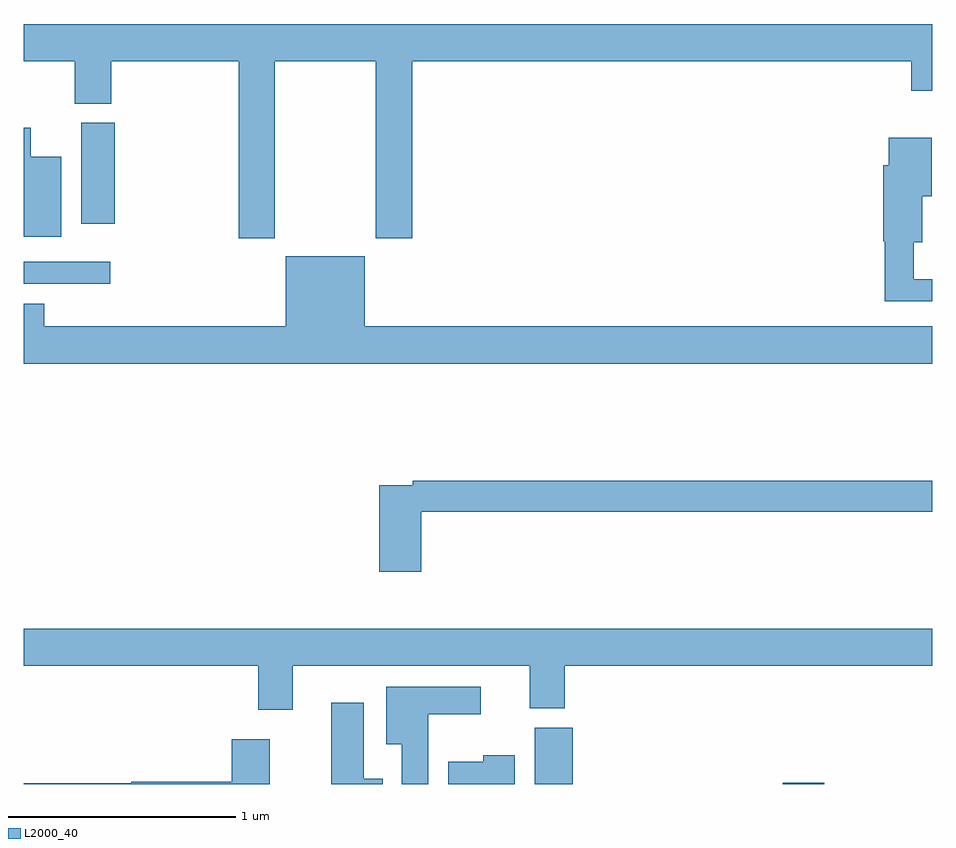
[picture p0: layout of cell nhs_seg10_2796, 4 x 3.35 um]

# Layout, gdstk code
import gdstk
lib = gdstk.Library(unit=1e-6, precision=1e-09)
def R(c, l, rs):  # rectangles x0, y0, x1, y1
    for r in rs: c.add(gdstk.rectangle(r[:2], r[2:], *l))
def P(c, l, *ps):  # polygons
    for p in ps: c.add(gdstk.Polygon(p, *l))
L2000_40 = (2000, 40)

nhs_seg10_2796 = lib.new_cell('nhs_seg10_2796')
R(nhs_seg10_2796, L2000_40, [(265.25,1262.5,265.418,1262.748), (266.342,1262.5,266.525,1262.506), (263,1264.704,263.38,1264.8), (263.252,1264.968,263.399,1265.412)])
P(nhs_seg10_2796, L2000_40, [(263,1265.684),(263.224,1265.684),(263.224,1265.497),(263.384,1265.497),(263.384,1265.684),(263.945,1265.684),(263.945,1264.905),(264.105,1264.905),(264.105,1265.684),(264.55,1265.684),(264.55,1264.905),(264.71,1264.905),(264.71,1265.684),(266.909,1265.684),(266.909,1265.553),(267,1265.553),(267,1265.848),(263,1265.848)],
  [(263.164,1265.263),(263.029,1265.263),(263.029,1265.392),(263,1265.392),(263,1264.91),(263.164,1264.91)],
  [(267,1264.723),(266.92,1264.723),(266.92,1264.886),(266.956,1264.886),(266.956,1265.09),(266.998,1265.09),(266.998,1265.347),(266.81,1265.347),(266.81,1265.226),(266.786,1265.226),(266.786,1264.89),(266.791,1264.89),(266.791,1264.626),(267,1264.626)],
  [(267,1264.516),(264.502,1264.516),(264.502,1264.825),(264.152,1264.825),(264.152,1264.516),(263.09,1264.516),(263.09,1264.615),(263,1264.615),(263,1264.352),(267,1264.352)],
  [(264.749,1263.7),(267,1263.7),(267,1263.836),(264.712,1263.836),(264.712,1263.816),(264.566,1263.816),(264.566,1263.435),(264.749,1263.435)],
  [(264.184,1263.02),(265.229,1263.02),(265.229,1262.833),(265.382,1262.833),(265.382,1263.02),(267,1263.02),(267,1263.184),(263,1263.184),(263,1263.02),(264.032,1263.02),(264.032,1262.826),(264.184,1262.826)],
  [(264.781,1262.807),(265.012,1262.807),(265.012,1262.929),(264.596,1262.929),(264.596,1262.675),(264.665,1262.675),(264.665,1262.5),(264.781,1262.5)],
  [(264.58,1262.524),(264.496,1262.524),(264.496,1262.857),(264.353,1262.857),(264.353,1262.5),(264.58,1262.5)],
  [(264.082,1262.698),(263.915,1262.698),(263.915,1262.51),(263.472,1262.51),(263.472,1262.504),(263,1262.504),(263,1262.5),(264.082,1262.5)],
  [(265.162,1262.626),(265.023,1262.626),(265.023,1262.599),(264.869,1262.599),(264.869,1262.5),(265.162,1262.5)])

lib.write_gds('nhs_seg10_2796.gds')
